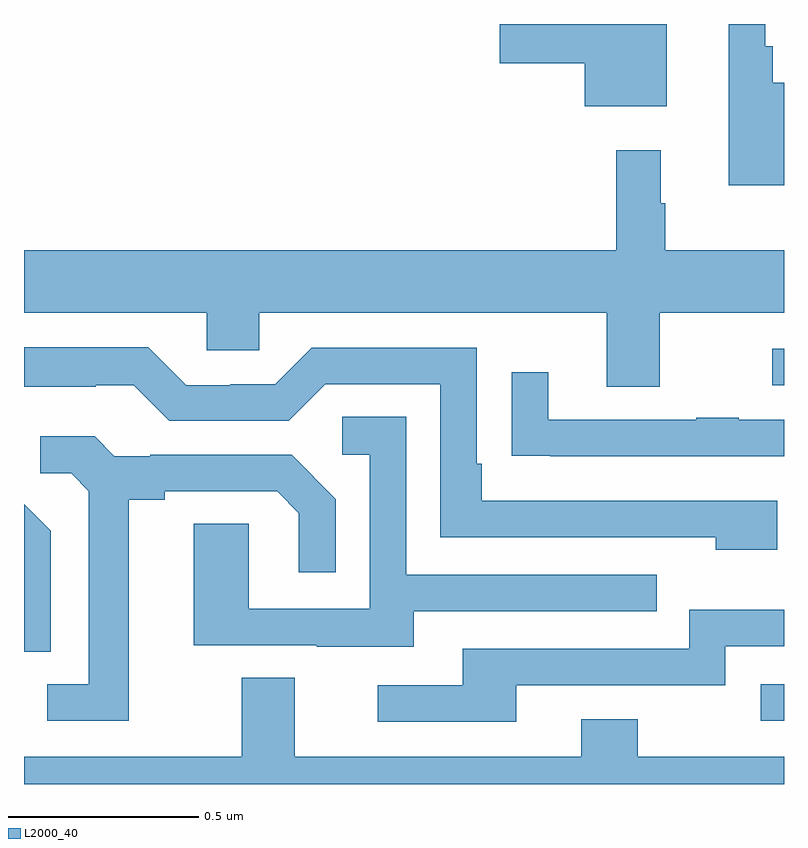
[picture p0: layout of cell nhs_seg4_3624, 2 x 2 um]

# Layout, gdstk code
import gdstk
lib = gdstk.Library(unit=1e-6, precision=1e-09)
def R(c, l, rs):  # rectangles x0, y0, x1, y1
    for r in rs: c.add(gdstk.rectangle(r[:2], r[2:], *l))
def P(c, l, *ps):  # polygons
    for p in ps: c.add(gdstk.Polygon(p, *l))
L2000_40 = (2000, 40)

nhs_seg4_3624 = lib.new_cell('nhs_seg4_3624')
R(nhs_seg4_3624, L2000_40, [(156.939,809.067,157,809.163), (156.969,809.949,157,810.045)])
P(nhs_seg4_3624, L2000_40, [(156.691,810.9),(156.252,810.9),(156.252,810.797),(156.476,810.797),(156.476,810.683),(156.691,810.683)],
  [(157,810.745),(156.971,810.745),(156.971,810.841),(156.951,810.841),(156.951,810.9),(156.854,810.9),(156.854,810.476),(157,810.476)],
  [(156.673,810.14),(157,810.14),(157,810.304),(156.688,810.304),(156.688,810.428),(156.676,810.428),(156.676,810.568),(156.559,810.568),(156.559,810.304),(155,810.304),(155,810.14),(155.481,810.14),(155.481,810.042),(155.619,810.042),(155.619,810.14),(156.533,810.14),(156.533,809.946),(156.673,809.946)],
  [(156.982,809.646),(156.205,809.646),(156.205,809.743),(156.192,809.743),(156.192,810.048),(155.757,810.048),(155.661,809.952),(155.543,809.952),(155.543,809.949),(155.427,809.949),(155.327,810.049),(155,810.049),(155,809.945),(155.189,809.945),(155.189,809.949),(155.289,809.949),(155.382,809.856),(155.697,809.856),(155.793,809.952),(156.096,809.952),(156.096,809.55),(156.821,809.55),(156.821,809.516),(156.982,809.516)],
  [(157,809.859),(156.881,809.859),(156.881,809.864),(156.769,809.864),(156.769,809.859),(156.379,809.859),(156.379,809.983),(156.283,809.983),(156.283,809.764),(156.385,809.764),(156.385,809.763),(157,809.763)],
  [(156.025,809.355),(156.665,809.355),(156.665,809.451),(156.006,809.451),(156.006,809.867),(155.838,809.867),(155.838,809.766),(155.91,809.766),(155.91,809.361),(155.592,809.361),(155.592,809.585),(155.447,809.585),(155.447,809.265),(155.771,809.265),(155.771,809.261),(156.025,809.261)],
  [(155.275,809.648),(155.371,809.648),(155.371,809.67),(155.666,809.67),(155.723,809.613),(155.723,809.457),(155.82,809.457),(155.82,809.65),(155.704,809.766),(155.332,809.766),(155.332,809.763),(155.238,809.763),(155.186,809.815),(155.043,809.815),(155.043,809.718),(155.124,809.718),(155.171,809.671),(155.171,809.163),(155.061,809.163),(155.061,809.067),(155.275,809.067)],
  [(155.07,809.566),(155,809.636),(155,809.248),(155.07,809.248)],
  [(156.295,809.16),(156.846,809.16),(156.846,809.262),(157,809.262),(157,809.359),(156.75,809.359),(156.75,809.256),(156.155,809.256),(156.155,809.16),(155.931,809.16),(155.931,809.064),(156.295,809.064)],
  [(157,808.972),(156.615,808.972),(156.615,809.071),(156.467,809.071),(156.467,808.972),(155.713,808.972),(155.713,809.18),(155.573,809.18),(155.573,808.972),(155,808.972),(155,808.9),(157,808.9)])

lib.write_gds('nhs_seg4_3624.gds')
